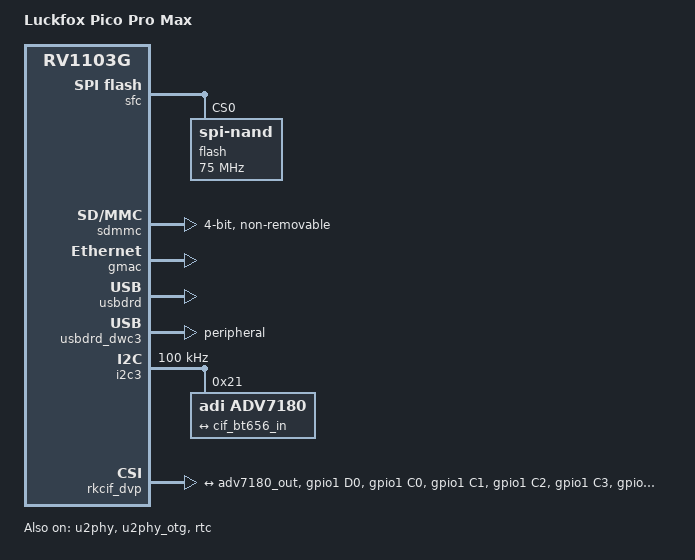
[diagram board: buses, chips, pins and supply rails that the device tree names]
// SPDX-License-Identifier: (GPL-2.0+ OR MIT)
/*
 * Copyright (c) 2022 Rockchip Electronics Co., Ltd.
 */

/dts-v1/;

#include "rv1106.dtsi"
#include "rv1106-evb.dtsi"
#include "rv1106-luckfox-pico-pro-max-ipc.dtsi"

/ {
	model = "Luckfox Pico Pro Max";
	compatible = "rockchip,rv1103g-38x38-ipc-v10", "rockchip,rv1106g3";
};

/**********CRU**********/
//&cru {
//	assigned-clocks =
//		<&cru PLL_GPLL>, <&cru PLL_CPLL>,
//		<&cru ARMCLK>,
//		<&cru ACLK_PERI_ROOT>, <&cru HCLK_PERI_ROOT>,
//		<&cru PCLK_PERI_ROOT>, <&cru ACLK_BUS_ROOT>,
//		<&cru PCLK_TOP_ROOT>, <&cru PCLK_PMU_ROOT>,
//		<&cru HCLK_PMU_ROOT>, <&cru CLK_500M_SRC>;
//	assigned-clock-rates =
//		<1188000000>, <700000000>,
//		<1104000000>,
//		<400000000>, <200000000>,
//		<100000000>, <300000000>,
//		<100000000>, <100000000>,
//		<200000000>, <700000000>;
//};

/**********NPU**********/
//&npu {
//	assigned-clock-rates = <700000000>;
//};

/**********FLASH**********/
&sfc {
	status = "okay";
	flash@0 {
		compatible = "spi-nand";
		reg = <0>;
		spi-max-frequency = <75000000>;
		spi-rx-bus-width = <4>;
		spi-tx-bus-width = <1>;
	};
};

/**********SDMMC**********/
&sdmmc {
	max-freqency = <50000000>;
	no-mmc;
	bus-width = <4>;
	cap-mmc-highspeed;
	cap-sd-highspeed;
	disable-wp;

	//sdio
	cap-sdio-irq;
	non-removable;
	no-1-8-v;
	supports-sdio;

	pinctrl-names = "default";
	pinctrl-0 = <&sdmmc0_clk &sdmmc0_cmd &sdmmc0_det &sdmmc0_bus4>;
	status = "okay";
};

/**********ETH**********/
&gmac {
	status = "okay";
};

/**********USB**********/
&u2phy {
	status = "okay";
};

&u2phy_otg {
	rockchip,dis-u2-susphy;
	status = "okay";
};

&usbdrd {
	status = "okay";
};

&usbdrd_dwc3 {
	status = "okay";
	dr_mode = "peripheral";
};

/**********SPI**********/
&spi0 {
	status = "disabled";
	spidev@0 {
		spi-max-frequency = <50000000>;
	};
	fbtft@0 {
		spi-max-frequency = <50000000>;
	};
};

/**********I2C**********/
/* I2C3_M1 */
&i2c3 {
	status = "okay";
	clock-frequency = <100000>;

    adv7180: adv7180@21 {
        /* IDENT (reg 0x11) reads 0x1c => ADV7182, not the base ADV7180.
         * The adv7182 config does the analog front-end setup needed to lock. */
        // compatible = "adi,adv7182";
        compatible = "adi,adv7180";
        reg = <0x21>;
        status = "okay";
        /* default-input = <N>; uncomment/set if the source is not on AIN1 */

        port {
            adv7180_out: endpoint {
                bus-type = <6>;		/* BT.656 */
                bus-width = <8>;
                remote-endpoint = <&cif_bt656_in>;
            };
        };
    };
};

/* I2C1_M1 */
&i2c1 {
	status = "disabled";
	clock-frequency = <100000>;
};


/**********UART**********/
/* UART3_M1 */
&uart3 {
	status = "disabled";
};

/* UART4_M1 */
&uart4 {
	status = "disabled";
};

/**********RTC**********/
&rtc {
	status = "okay";
};

/*********MIPI**********/
/* MIPI_LVDS - disabled, using DVP/BT.656 mode instead */
&rkcif_mipi_lvds {
	status = "disabled";
};

/*
 * Trimmed M1 pin group: 8-bit BT.656 needs only clkin + d0..d7.
 * The stock vicapm1_pins also muxes d8/d9/hsync/vsync; vsync (gpio1 PD2) is
 * already owned by ff460000.i2c, which aborts the DVP probe with -22.
 */
&pinctrl {
	vicap {
		vicap_bt656_8bit_m1: vicap-bt656-8bit-m1 {
			rockchip,pins =
				/* vicap_clkin_m1 */
				<1 RK_PD0 2 &pcfg_pull_none>,

                /* vicap_d0_m1 */
				<1 RK_PC0 2 &pcfg_pull_none>,
				/* vicap_d1_m1 */
				<1 RK_PC1 2 &pcfg_pull_none>,
				/* vicap_d2_m1 */
				<1 RK_PC2 2 &pcfg_pull_none>,
				/* vicap_d3_m1 */
				<1 RK_PC3 2 &pcfg_pull_none>,
				/* vicap_d4_m1 */
				<1 RK_PC4 2 &pcfg_pull_none>,
				/* vicap_d5_m1 */
				<1 RK_PC5 2 &pcfg_pull_none>,
				/* vicap_d6_m1 */
				<1 RK_PC6 2 &pcfg_pull_none>,
				/* vicap_d7_m1 */
				<1 RK_PC7 2 &pcfg_pull_none>;
		};
	};
};

/* RKCIF DVP/BT.656 input */
&rkcif_dvp {
	status = "okay";
	pinctrl-names = "default";
	/* Board breaks out the VI_BT656_*_M1 pins (gpio1 bank), not M0. */
	// pinctrl-0 = <&vicapm0_pins>;
	pinctrl-0 = <&vicap_bt656_8bit_m1>;

	port {
		cif_bt656_in: endpoint {
			bus-type = <6>;		/* BT.656 */
			bus-width = <8>;
			data-lanes = <1>;

			remote-endpoint = <&adv7180_out>;
		};
	};
};
